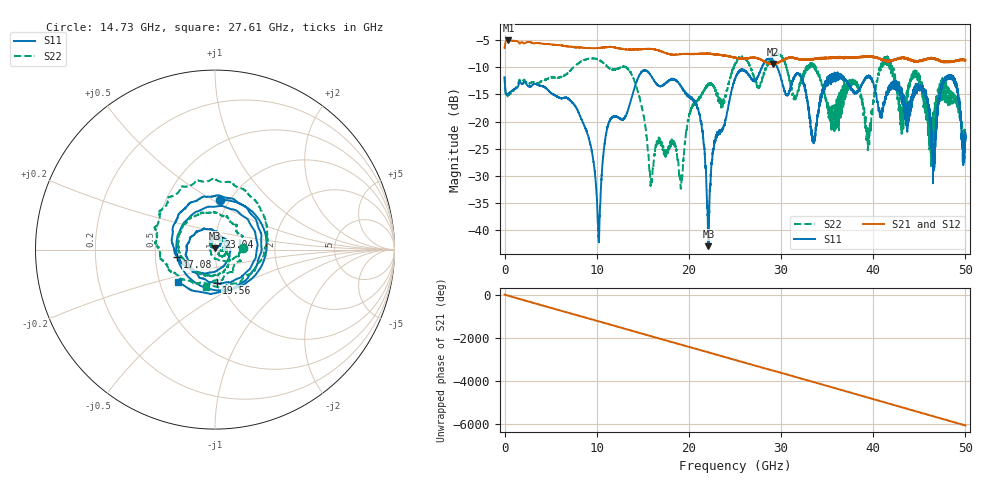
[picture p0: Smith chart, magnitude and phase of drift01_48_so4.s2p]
!Created with skrf (http://scikit-rf.org).
# Hz S RI R 50.0
!freq ReS11 ImS11 ReS21 ImS21 ReS12 ImS12 ReS22 ImS22
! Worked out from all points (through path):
!   10001 points, 300 kHz to 50 GHz, reference 50 ohm
!   highest |S21| = -5.05 dB at 410.3 MHz (marker M1); lowest = -9.4 dB at 29.12 GHz (marker M2)
!   group delay of S21, straight-line fit = 336 ps
!   lowest |S11| = -43.0 dB at 22.12 GHz (marker M3), VSWR 1.01, Z = 49.7 + j0.658 ohm
!   |S11| at or under -10 dB: start of sweep to 27.92 GHz; 29.59 GHz to end of sweep
!   |S22| runs from -32.4 to -7.4 dB; largest |S21 - S12| = 0.014
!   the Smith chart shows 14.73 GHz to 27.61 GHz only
!   S11 on the Smith chart (normalised r, x): 14.73 GHz: 0.91, +0.54; 17.08 GHz: 0.65, -0.06; 19.56 GHz: 0.95, -0.36; 23.04 GHz: 1.03, +0.15; 27.61 GHz: 0.62, -0.24
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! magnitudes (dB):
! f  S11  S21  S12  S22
! 300 kHz  -11.9  -6.4  -6.5  -11.7
! 410.3 MHz  -14.8  -5.1  -5.1  -15.1
! 8.335 GHz  -19.6  -6.4  -6.4  -8.9
! 10.21 GHz  -41.7  -6.4  -6.4  -8.6
! 11.24 GHz  -20.7  -6.3  -6.3  -10.0
! 14.73 GHz  -11.2  -6.7  -6.7  -16.2
! 15.88 GHz  -11.5  -6.6  -6.6  -31.1
! 16.67 GHz  -13.3  -6.9  -6.9  -23.2
! 17.08 GHz  -13.4  -7.1  -7.1  -24.4
! 19.56 GHz  -14.7  -7.6  -7.5  -24.0
! 21.2 GHz  -18.9  -7.5  -7.5  -15.7
! 22.12 GHz  -43.0  -7.5  -7.5  -13.3
! 23.04 GHz  -22.6  -7.6  -7.7  -15.2
! 25 GHz  -12.2  -8.3  -8.3  -9.6
! 27.61 GHz  -11.2  -8.5  -8.4  -13.3
! 29.12 GHz  -8.7  -9.4  -9.4  -7.9
! 33.34 GHz  -22.7  -8.5  -8.5  -9.5
! 39.49 GHz  -11.5  -8.1  -8.0  -21.4
! 41.67 GHz  -13.9  -8.9  -8.8  -8.8
! 46.55 GHz  -27.2  -8.4  -8.3  -20.4
! 48.52 GHz  -11.4  -8.9  -9.0  -14.8
! 50 GHz  -23.1  -8.7  -8.7  -23.1
